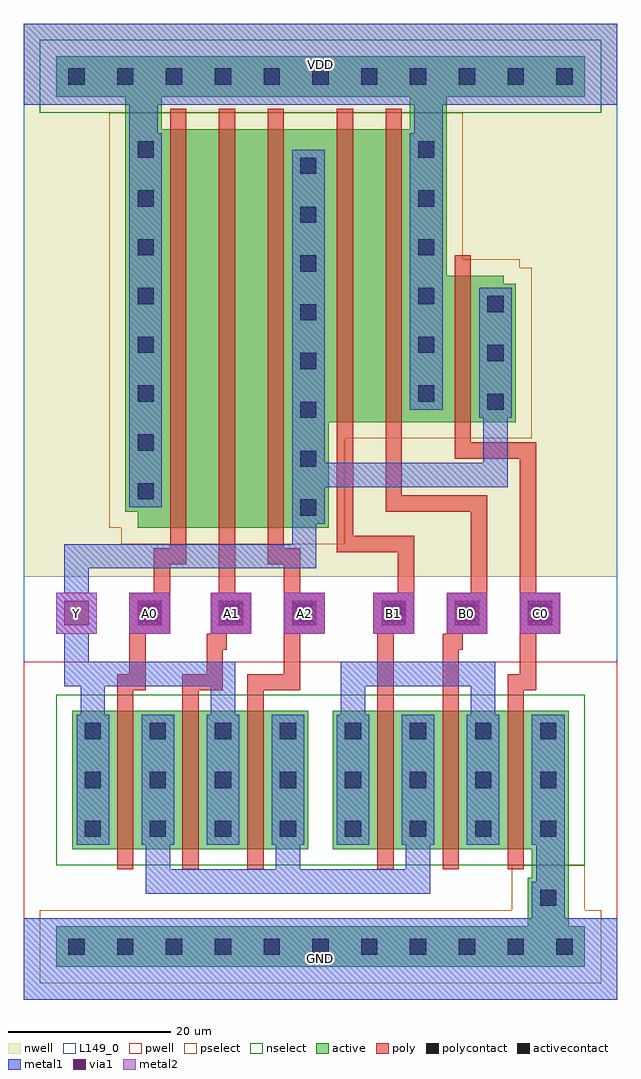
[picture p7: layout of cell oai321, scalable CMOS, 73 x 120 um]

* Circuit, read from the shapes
.subckt oai321 A0 A1 A2 B0 B1 C0 GND VDD Y
M1 n1 A0 Y GND nfet w=17u l=2u
M2 Y A1 n1 GND nfet w=17u l=2u
M3 n1 A2 Y GND nfet w=17u l=2u
M4 n1 B1 n2 GND nfet w=17u l=2u
M5 n2 B0 n1 GND nfet w=17u l=2u
M6 GND C0 n2 GND nfet w=17u l=2u
M7 n3 A0 VDD VDD pfet w=49u l=2u
M8 n4 A1 n3 VDD pfet w=49u l=2u
M9 Y A2 n4 VDD pfet w=49u l=2u
M10 n5 B1 Y VDD pfet w=36u l=2u
M11 VDD B0 n5 VDD pfet w=36u l=2u
M12 Y C0 VDD VDD pfet w=18u l=2u
.ends

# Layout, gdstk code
import gdstk
lib = gdstk.Library(unit=1e-6, precision=1e-09)
def R(c, l, rs):  # rectangles x0, y0, x1, y1
    for r in rs: c.add(gdstk.rectangle(r[:2], r[2:], *l))
def A(c, l, x, y, w, h, nx, ny, dx, dy):  # array of equal rectangles
    R(c, l, [(x+i*dx, y+j*dy, x+i*dx+w, y+j*dy+h) for i in range(nx) for j in range(ny)])
def P(c, l, *ps):  # polygons
    for p in ps: c.add(gdstk.Polygon(p, *l))
pwell = (41, 0)
nwell = (42, 0)
active = (43, 0)
pselect = (44, 0)
nselect = (45, 0)
poly = (46, 0)
polycontact = (47, 0)
activecontact = (48, 0)
metal1 = (49, 0)
via1 = (50, 0)
metal2 = (51, 0)
L149_0 = (149, 0)

via = lib.new_cell('via')
R(via, metal1, [(-2.5,-2.5,2.5,2.5)])
R(via, via1, [(-1.5,-1.5,1.5,1.5)])
R(via, metal2, [(-2.5,-2.5,2.5,2.5)])

oai321 = lib.new_cell('oai321')
R(oai321, pwell, [(0,0,73,41.5), (0,12.5,41,41.5), (32,12.5,73,41.5)])
R(oai321, nwell, [(0,52,73,120)])
P(oai321, nwell, [(43.5,52),(43.5,65),(66.5,65),(66.5,94),(65,94),(65,95),(58,95),(58,113),(6.5,113),(6.5,54),(8,54),(8,52)])
R(oai321, active, [(4,4,69,9), (62,9,67,15), (62.5,15,67,18.5), (6,18.5,11.5,35.5), (6,18.5,35,35.5), (29.5,18.5,35,35.5), (38,18.5,43.5,35.5), (38,18.5,67,35.5), (61.5,18.5,67,35.5), (12.5,107,17,111), (47.5,107,52,111), (4,111,69,116)])
P(oai321, active, [(37.5,58),(37.5,71),(60.5,71),(60.5,88),(59,88),(59,89),(52,89),(52,107),(12.5,107),(12.5,60),(14,60),(14,58)],
  [(18,58),(18,107),(12.5,107),(12.5,60),(14,60),(14,58)],
  [(60.5,71),(60.5,88),(59,88),(59,89),(55,89),(55,71)])
R(oai321, pselect, [(2,2,71,11), (60,11,69,16.5)])
P(oai321, pselect, [(39.5,56),(39.5,69),(62.5,69),(62.5,90),(61,90),(61,91),(54,91),(54,109),(10.5,109),(10.5,58),(12,58),(12,56)])
R(oai321, nselect, [(4,16.5,37,37.5), (36,16.5,69,37.5), (2,109,71,118)])
A(oai321, poly, 11.5, 16, 2, 2.5, 3, 2, 8, 19.5)
A(oai321, poly, 43.5, 16, 2, 2.5, 3, 2, 8, 19.5)
A(oai321, poly, 11.5, 18.5, 2, 17, 3, 1, 8, 0)
A(oai321, poly, 43.5, 18.5, 2, 17, 3, 1, 8, 0)
A(oai321, poly, 43, 45, 5, 5, 3, 1, 9, 0)
A(oai321, poly, 18, 55.5, 2, 2.5, 3, 2, 6, 51.5)
A(oai321, poly, 18, 58, 2, 49, 3, 1, 6, 0)
R(oai321, poly, [(13,45,18,50), (23,45,28,50), (32,45,37,50), (38.5,68.5,40.5,71), (44.5,68.5,46.5,71), (53,68.5,55,71), (38.5,71,40.5,107), (44.5,71,46.5,107), (53,71,55,89), (53,89,55,91.5), (38.5,107,40.5,109.5), (44.5,107,46.5,109.5)])
A(oai321, polycontact, 44.5, 46.5, 2, 2, 3, 1, 9, 0)
R(oai321, polycontact, [(14.5,46.5,16.5,48.5), (24.5,46.5,26.5,48.5), (33.5,46.5,35.5,48.5)])
A(oai321, activecontact, 5.5, 5.5, 2, 2, 11, 2, 6, 107)
A(oai321, activecontact, 7.5, 20, 2, 2, 8, 3, 8, 6)
A(oai321, activecontact, 34, 59.5, 2, 2, 1, 8, 0, 6)
A(oai321, activecontact, 14, 61.5, 2, 2, 1, 8, 0, 6)
A(oai321, activecontact, 57, 72.5, 2, 2, 1, 3, 0, 6)
A(oai321, activecontact, 48.5, 73.5, 2, 2, 1, 6, 0, 6)
R(oai321, activecontact, [(63.5,11.5,65.5,13.5)])
A(oai321, metal1, 6.5, 19, 4, 16, 8, 1, 8, 0)
A(oai321, metal1, 43.5, 45.5, 4, 4, 3, 1, 9, 0)
R(oai321, metal1, [(0,0,73,10), (62.5,10,66.5,14.5), (63,14.5,66.5,19), (13.5,45.5,17.5,49.5), (23.5,45.5,27.5,49.5), (32.5,45.5,36.5,49.5), (33,58.5,37,104.5), (13,60.5,17,106.5), (56,71.5,60,87.5), (47.5,72.5,51.5,106.5), (13,106.5,16.5,110), (48,106.5,51.5,110), (0,110,73,120)])
A(oai321, metal2, 43, 45, 5, 5, 3, 1, 9, 0)
R(oai321, metal2, [(4,45,9,50), (13,45,18,50), (23,45,28,50), (32,45,37,50)])
R(oai321, L149_0, [(0,0,73,120)])
oai321.add(gdstk.FlexPath([(14,45),(14,39),(11.5,39)], 2, ends="flush", simple_path=True, layer=46, datatype=0))  # poly
oai321.add(gdstk.FlexPath([(39.5,68.5),(39.5,56),(47,56),(47,50)], 2, ends="flush", simple_path=True, layer=46, datatype=0))  # poly
oai321.add(gdstk.FlexPath([(52.5,38),(52.5,44),(54,44)], 2, ends="flush", simple_path=True, layer=46, datatype=0))  # poly
oai321.add(gdstk.FlexPath([(45.5,68.5),(45.5,61),(56,61),(56,50)], 2, ends="flush", simple_path=True, layer=46, datatype=0))  # poly
oai321.add(gdstk.FlexPath([(59.5,39),(62,39),(62,45)], 2, ends="flush", simple_path=True, layer=46, datatype=0))  # poly
oai321.add(gdstk.FlexPath([(53,67.5),(62,67.5),(62,50)], 2, ends="flush", simple_path=True, layer=46, datatype=0))  # poly
oai321.add(gdstk.FlexPath([(20,54.5),(17,54.5),(17,50)], 2, ends="flush", simple_path=True, layer=46, datatype=0))  # poly
oai321.add(gdstk.FlexPath([(44.5,38),(44.5,46),(46,46)], 2, ends="flush", simple_path=True, layer=46, datatype=0))  # poly
oai321.add(gdstk.FlexPath([(30,54.5),(33,54.5),(33,50)], 2, ends="flush", simple_path=True, layer=46, datatype=0))  # poly
oai321.add(gdstk.FlexPath([(27.5,39),(33,39),(33,45)], 2, ends="flush", simple_path=True, layer=46, datatype=0))  # poly
oai321.add(gdstk.FlexPath([(25,55.5),(25,50)], 2, ends="flush", simple_path=True, layer=46, datatype=0))  # poly
oai321.add(gdstk.FlexPath([(19.5,39),(23.5,39),(23.5,44),(25,44)], 2, ends="flush", simple_path=True, layer=46, datatype=0))  # poly
oai321.add(gdstk.FlexPath([(34,14.5),(48.5,14.5),(48.5,19)], 3, ends="flush", simple_path=True, layer=49, datatype=0))  # metal1
oai321.add(gdstk.FlexPath([(40.5,35),(40.5,40),(56.5,40),(56.5,35)], 3, ends="flush", simple_path=True, layer=49, datatype=0))  # metal1
oai321.add(gdstk.FlexPath([(58,71.5),(58,64.5),(37,64.5)], 3, ends="flush", simple_path=True, layer=49, datatype=0))  # metal1
oai321.add(gdstk.FlexPath([(16.5,19),(16.5,14.5),(32.5,14.5),(32.5,19)], 3, ends="flush", simple_path=True, layer=49, datatype=0))  # metal1
oai321.add(gdstk.FlexPath([(24.5,35),(24.5,40),(8.5,40),(8.5,35)], 3, ends="flush", simple_path=True, layer=49, datatype=0))  # metal1
oai321.add(gdstk.FlexPath([(6.5,45),(6.5,40),(7,40)], 3, ends="flush", simple_path=True, layer=49, datatype=0))  # metal1
oai321.add(gdstk.FlexPath([(34.5,58.5),(34.5,54.5),(6.5,54.5),(6.5,50)], 3, ends="flush", simple_path=True, layer=49, datatype=0))  # metal1
oai321.add(gdstk.Reference(via, (6.5,47.5)))
oai321.add(gdstk.Reference(via, (34.5,47.5)))
oai321.add(gdstk.Reference(via, (15.5,47.5)))
oai321.add(gdstk.Reference(via, (25.5,47.5)))
oai321.add(gdstk.Reference(via, (45.5,47.5)))
oai321.add(gdstk.Reference(via, (54.5,47.5), x_reflection=True))
oai321.add(gdstk.Reference(via, (63.5,47.5)))
oai321.add(gdstk.Label('GND', (36.5,5), layer=2, texttype=0))
oai321.add(gdstk.Label('VDD', (36.5,115), layer=2, texttype=0))
oai321.add(gdstk.Label('B0', (54.5,47.5), layer=3, texttype=0))
oai321.add(gdstk.Label('A0', (15.5,47.5), layer=3, texttype=0))
oai321.add(gdstk.Label('A2', (34.5,47.5), layer=3, texttype=0))
oai321.add(gdstk.Label('Y', (6.5,47.5), layer=3, texttype=0))
oai321.add(gdstk.Label('B1', (45.5,47.5), layer=3, texttype=0))
oai321.add(gdstk.Label('C0', (63.5,47.5), layer=3, texttype=0))
oai321.add(gdstk.Label('A1', (25.5,47.5), layer=3, texttype=0))
oai321.add(gdstk.Label('B0', (54.5,47.5), layer=3, texttype=0))
oai321.add(gdstk.Label('A0', (15.5,47.5), layer=3, texttype=0))
oai321.add(gdstk.Label('GND', (36.5,5), layer=2, texttype=0))
oai321.add(gdstk.Label('VDD', (36.5,115), layer=2, texttype=0))
oai321.add(gdstk.Label('A2', (34.5,47.5), layer=3, texttype=0))
oai321.add(gdstk.Label('Y', (6.5,47.5), layer=3, texttype=0))
oai321.add(gdstk.Label('B1', (45.5,47.5), layer=3, texttype=0))
oai321.add(gdstk.Label('C0', (63.5,47.5), layer=3, texttype=0))
oai321.add(gdstk.Label('A1', (25.5,47.5), layer=3, texttype=0))

lib.write_gds('oai321.gds')
